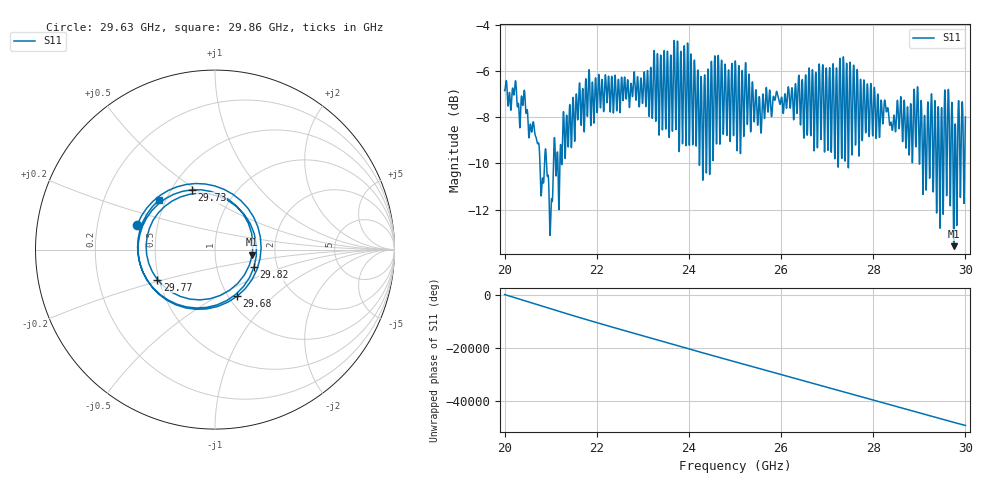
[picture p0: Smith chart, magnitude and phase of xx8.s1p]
#  HZ  S  RI  R  50.00
! Rohde & Schwarz ZVA40 4Ports - Version 3.90 - 1145.1110k42 SN: 100403
! Date: 2023-09-28 11:52:12
! Measurement: S22
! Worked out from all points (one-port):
!   5001 points, 20 GHz to 30 GHz, reference 50 ohm
!   lowest |S11| = -13.6 dB at 29.75 GHz (marker M1), VSWR 1.53, Z = 76 - j4.5 ohm
!   |S11| at or under -10 dB: 20.7667 GHz to 20.86611 GHz (99.42 MHz wide, 0.478 % of centre); 20.91 GHz to 21.06 GHz (149.7 MHz wide, 0.713 % of centre); 21.15717 GHz to 21.19981 GHz (42.65 MHz wide, 0.201 % of centre)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
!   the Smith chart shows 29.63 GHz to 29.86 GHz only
!   S11 on the Smith chart (normalised r, x): 29.63 GHz: 0.38, +0.13; 29.68 GHz: 1.10, -0.62; 29.73 GHz: 0.63, +0.48; 29.77 GHz: 0.49, -0.19; 29.82 GHz: 1.52, -0.31; 29.86 GHz: 0.46, +0.31
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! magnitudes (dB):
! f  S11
! 20 GHz  -6.9
! 20.45 GHz  -7.5
! 21 GHz  -12.3
! 21.25 GHz  -9.6
! 21.8 GHz  -7.9
! 22.5 GHz  -7.6
! 23.72 GHz  -8.5
! 23.75 GHz  -4.7
! 24.01 GHz  -9.1
! 24.34 GHz  -6.2
! 24.6 GHz  -9.1
! 25 GHz  -5.8
! 26.25 GHz  -7.0
! 27.5 GHz  -5.7
! 28.75 GHz  -7.7
! 28.93 GHz  -9.3
! 29.11 GHz  -7.9
! 29.23 GHz  -10.6
! 29.41 GHz  -7.5
! 29.59 GHz  -11.4
! 29.63 GHz  -6.8
! 29.68 GHz  -10.8
! 29.73 GHz  -8.9
! 29.75 GHz  -13.6
! 29.77 GHz  -8.8
! 29.82 GHz  -12.5
! 29.86 GHz  -7.6
! 30 GHz  -8.0
